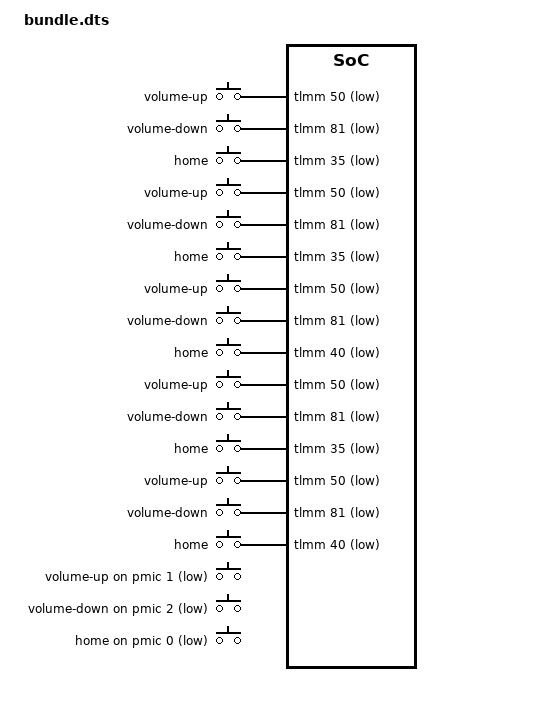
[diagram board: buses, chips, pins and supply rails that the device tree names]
// SPDX-License-Identifier: BSD-3-Clause
#include <skeleton32.dtsi>
#include <lk2nd.dtsi>

&lk2nd {
	samsung-serrano {
		model = "Samsung Galaxy S4 Mini (GT-I9195)";
		compatible = "samsung,serranolte", "samsung,serrano";
		lk2nd,match-bootloader = "I9195*";

		gpio-keys {
			compatible = "gpio-keys";

			volume-up {
				lk2nd,code = <KEY_VOLUMEUP>;
				gpios = <&tlmm 50 (GPIO_ACTIVE_LOW | GPIO_PULL_UP)>;
			};
			volume-down {
				lk2nd,code = <KEY_VOLUMEDOWN>;
				gpios = <&tlmm 81 (GPIO_ACTIVE_LOW | GPIO_PULL_UP)>;
			};
			home {
				lk2nd,code = <KEY_HOME>;
				gpios = <&tlmm 35 (GPIO_ACTIVE_LOW | GPIO_PULL_UP)>;
			};
		};
	};
	samsung-loganre {
		model = "Samsung Galaxy Ace 3 LTE (GT-S7275R)";
		compatible = "samsung,loganrelte", "samsung,loganre";
		lk2nd,match-cmdline = "*samsung.hardware=GT-S7275R*";

		gpio-keys {
			compatible = "gpio-keys";

			volume-up {
				lk2nd,code = <KEY_VOLUMEUP>;
				gpios = <&tlmm 50 (GPIO_ACTIVE_LOW | GPIO_PULL_UP)>;
			};
			volume-down {
				lk2nd,code = <KEY_VOLUMEDOWN>;
				gpios = <&tlmm 81 (GPIO_ACTIVE_LOW | GPIO_PULL_UP)>;
			};
			home {
				lk2nd,code = <KEY_HOME>;
				gpios = <&tlmm 35 (GPIO_ACTIVE_LOW | GPIO_PULL_UP)>;
			};
		};
	};
	samsung-expressatt {
		model = "Samsung Galaxy Express SGH-I437";
		compatible = "samsung,expressatt", "qcom,msm8960";
		lk2nd,match-bootloader = "I437*";
		lk2nd,dtb-files = "msm8960-samsung-expressatt";

		gpio-keys {
			compatible = "gpio-keys";

			volume-up {
				lk2nd,code = <KEY_VOLUMEUP>;
				gpios = <&tlmm 50 (GPIO_ACTIVE_LOW | GPIO_PULL_UP)>;
			};
			volume-down {
				lk2nd,code = <KEY_VOLUMEDOWN>;
				gpios = <&tlmm 81 (GPIO_ACTIVE_LOW | GPIO_PULL_UP)>;
			};
			home {
				lk2nd,code = <KEY_HOME>;
				gpios = <&tlmm 40 (GPIO_ACTIVE_LOW | GPIO_PULL_UP)>;
			};
		};
	};
	samsung-expressltexx {
		model = "Samsung Galaxy Express (GT-I8730)";
		compatible = "samsung,expressltexx", "qcom,msm8960";
		lk2nd,match-bootloader = "I8730*";
		lk2nd,dtb-files = "msm8930-samsung-expressltexx";

		gpio-keys {
			compatible = "gpio-keys";

			volume-up {
				lk2nd,code = <KEY_VOLUMEUP>;
				gpios = <&tlmm 50 (GPIO_ACTIVE_LOW | GPIO_PULL_UP)>;
			};
			volume-down {
				lk2nd,code = <KEY_VOLUMEDOWN>;
				gpios = <&tlmm 81 (GPIO_ACTIVE_LOW | GPIO_PULL_UP)>;
			};
			home {
				lk2nd,code = <KEY_HOME>;
				gpios = <&tlmm 35 (GPIO_ACTIVE_LOW | GPIO_PULL_UP)>;
			};
		};
	};
	samsung-espresso10att {
		model = "Samsung Galaxy Tab 2 10.1 (SGH-I497)";
		compatible = "samsung,espresso10att", "qcom,msm8960";
		lk2nd,match-bootloader = "I497*";
		lk2nd,dtb-files = "msm8960-samsung-espresso10att";

		gpio-keys {
			compatible = "gpio-keys";

			volume-up {
				lk2nd,code = <KEY_VOLUMEUP>;
				gpios = <&tlmm 50 (GPIO_ACTIVE_LOW | GPIO_PULL_UP)>;
			};
			volume-down {
				lk2nd,code = <KEY_VOLUMEDOWN>;
				gpios = <&tlmm 81 (GPIO_ACTIVE_LOW | GPIO_PULL_UP)>;
			};
			home {
				lk2nd,code = <KEY_HOME>;
				gpios = <&tlmm 40 (GPIO_ACTIVE_LOW | GPIO_PULL_UP)>;
			};
		};
	};
	casio-ca201l {
		model = "Casio GzOne (CA-201L)";
		compatible = "casio,ca201l";
		lk2nd,match-cmdline = "* androidboot.err_folder_lock=true *";
		lk2nd,dtb-files = "msm8960-casio-ca201l";
		gpio-keys {
			compatible = "gpio-keys";

			volume-up {
				lk2nd,code = <KEY_VOLUMEUP>;
				gpios = <&pmic 1 (GPIO_ACTIVE_LOW | GPIO_PULL_UP)>;
			};
			volume-down {
				lk2nd,code = <KEY_VOLUMEDOWN>;
				gpios = <&pmic 2 (GPIO_ACTIVE_LOW | GPIO_PULL_UP)>;
			};
			home {
				lk2nd,code = <KEY_HOME>;
				gpios = <&pmic 0 (GPIO_ACTIVE_LOW | GPIO_PULL_UP)>;
			};
		};
	};
	sony-huashan {
		/*
		 * The display currently not implemented yet due to lk2nd requiring MDP5, which is not available on
		 * the msm8960t SoC. The display is also not initialized from the bootloader, which further prevents
		 * lk2nd from working. So, please build lk2nd-msm8960 with ENABLE_DISPLAY=0.
		 *
		 * make ENABLE_DISPLAY=0 TOOLCHAIN_PREFIX=arm-none-eabi- lk2nd-msm8960
		 *
		 * The UART output for this phone is located on gsbi8. If you have a non-LTE variant, patch
		 * target_uart_init to use gsbi8 instead of gsbi5.
		 *
		 * To load the RPM at init, you must package lk2nd as a Sony ELF instead of the usual boot.img format.
		 * Use the following command to generate it:
		 *
		 * python2 mkelf.py -o lk2nd-sony.elf lk.bin@0x80208000 RPM.bin@0x00020000,rpm cmdline_lk2nd.txt@cmdline
		 *
		 * The mkelf.py and RPM.bin are available from the GitHub repository below:
		 * https://github.com/LineageOS/android_device_sony_huashan/blob/lineage-18.1/boot
		 *
		 * For the cmdline_lk2nd.txt, just fill it with "lk2nd".
		 */
		model = "Sony Xperia SP (huashan)";
		compatible = "sony,huashan", "qcom,msm8960";
		lk2nd,dtb-files = "msm8960-sony-huashan";
		lk2nd,match-bootloader = "s1";
	};
};
